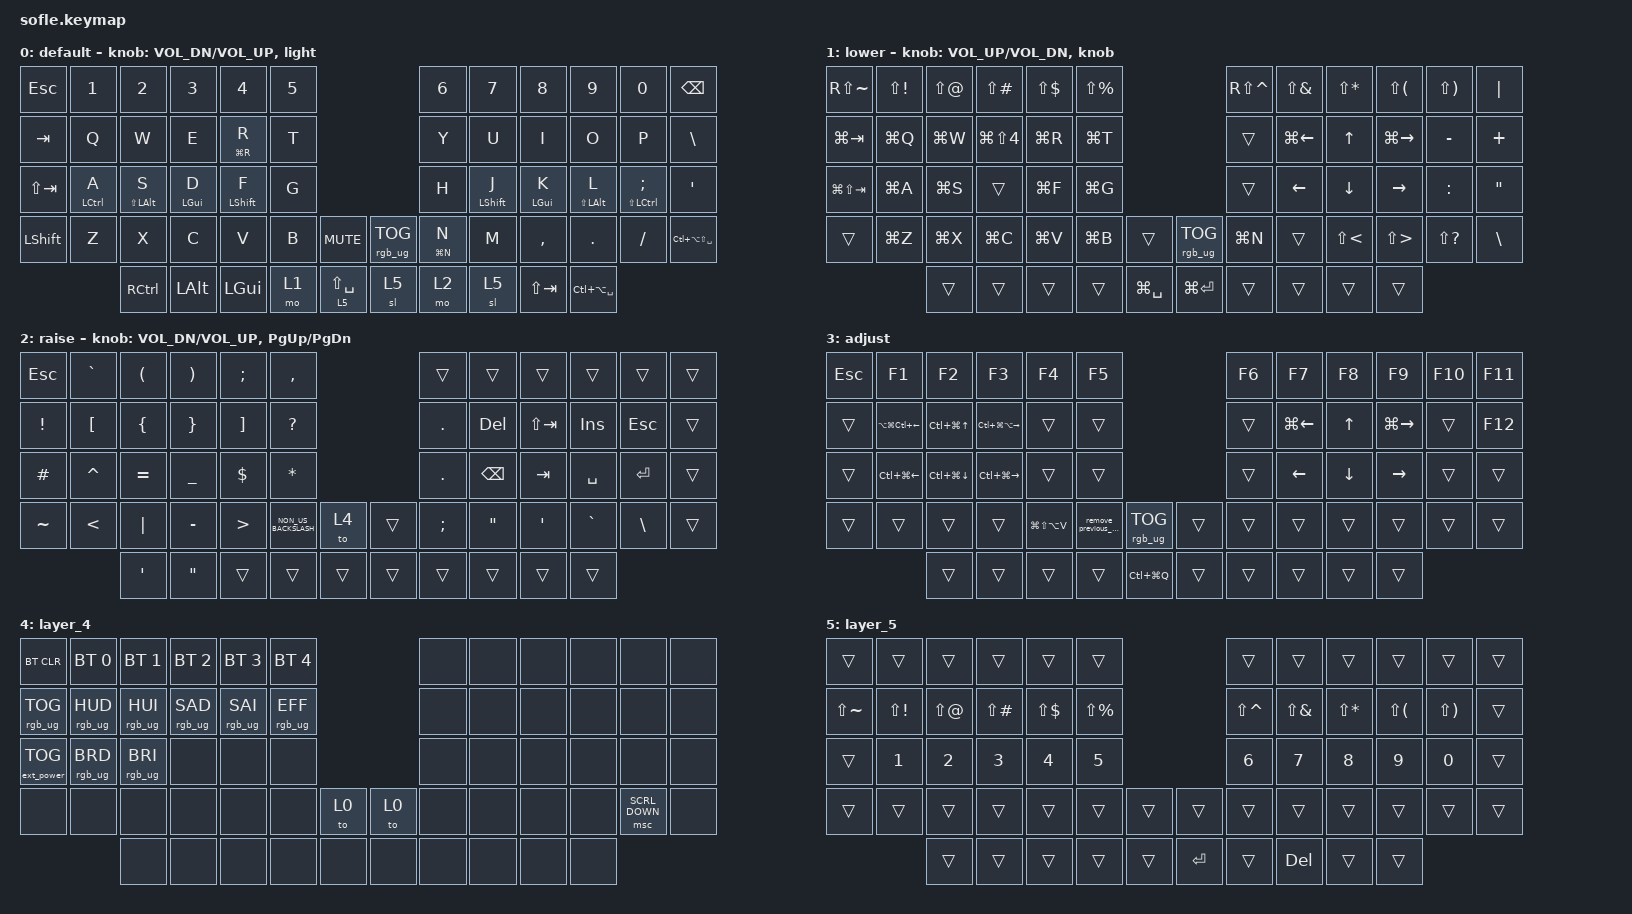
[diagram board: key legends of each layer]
/*
 * Copyright (c) 2020 The ZMK Contributors
 *
 * SPDX-License-Identifier: MIT
 */

#include <behaviors.dtsi>
#include <dt-bindings/zmk/bt.h>
#include <dt-bindings/zmk/ext_power.h>
#include <dt-bindings/zmk/keys.h>
#include <dt-bindings/zmk/pointing.h>
#include <dt-bindings/zmk/rgb.h>

#define BASE 0
#define LOWER 1
#define RAISE 2
#define ADJUST 3

/ {
    // Activate ADJUST layer by pressing raise and lower

    conditional_layers {
        compatible = "zmk,conditional-layers";

        adjust_layer {
            if-layers = <1 2>;
            then-layer = <3>;
        };
    };

    behaviors {
        longPress: longPress {
            compatible = "zmk,behavior-hold-tap";
            label = "LONGPRESS";
            bindings = <&kp>, <&kp>;

            #binding-cells = <2>;
            tapping-term-ms = <500>;
            flavor = "tap-preferred";
        };

        knob: knob {
            compatible = "zmk,behavior-sensor-rotate";
            label = "KNOB";
            #sensor-binding-cells = <0>;
            bindings = <&rgb_ug RGB_EFR>, <&rgb_ug RGB_EFF>;
        };

        light: light {
            compatible = "zmk,behavior-sensor-rotate";
            label = "LIGHT";
            #sensor-binding-cells = <0>;
            bindings = <&rgb_ug RGB_BRD>, <&rgb_ug RGB_BRI>;
        };

        HMShiftR: HMShiftR {
            compatible = "zmk,behavior-hold-tap";
            label = "HMSHIFTR";
            bindings = <&kp>, <&kp>;

            #binding-cells = <2>;
            tapping-term-ms = <450>;
            hold-while-undecided;
            hold-trigger-key-positions = <0 1 2 3 4 5 14 15 16 17 26 27 28 29 38 39 40 41 12 13 14 24 25 26 36 37 38 50 51 52 53 54 42>;
            hold-trigger-on-release;
        };

        HMShiftL: HMShiftL {
            compatible = "zmk,behavior-hold-tap";
            label = "HMSHIFTL";
            bindings = <&kp>, <&kp>;

            #binding-cells = <2>;
            tapping-term-ms = <450>;
            hold-while-undecided;
            hold-trigger-on-release;
            hold-trigger-key-positions = <6 7 8 9 10 11 18 19 20 21 22 23 30 31 32 33 34 35 44 45 46 47 48 49 57 58 59 55 56 43>;
        };

        HMR: HMR {
            compatible = "zmk,behavior-hold-tap";
            label = "HMR";
            bindings = <&kp>, <&kp>;

            #binding-cells = <2>;
            tapping-term-ms = <400>;
            hold-trigger-key-positions = <0 1 2 3 4 5 14 15 16 17 26 27 28 29 38 39 40 41 12 13 14 24 25 26 36 37 38 50 51 52 53 54 42>;
            flavor = "tap-preferred";
            quick-tap-ms = <350>;
        };

        HML: HML {
            compatible = "zmk,behavior-hold-tap";
            label = "HML";
            bindings = <&kp>, <&kp>;

            #binding-cells = <2>;
            tapping-term-ms = <400>;
            hold-trigger-key-positions = <6 7 8 9 10 11 18 19 20 21 22 23 30 31 32 33 34 35 44 45 46 47 48 49 57 58 59 55 56 43>;
            flavor = "tap-preferred";
            quick-tap-ms = <350>;
        };

        new_behavior: new_behavior {
            compatible = "zmk,behavior-hold-tap";
            label = "NEW_BEHAVIOR";
            bindings = <&mo>, <&kp>;

            #binding-cells = <2>;
            tapping-term-ms = <300>;
            quick-tap-ms = <250>;
            flavor = "balanced";
            hold-trigger-key-positions = <13 14 16 17 26 27 28 29 25 15 18 19 20 21 22 30 31 32 33 34>;
        };
    };

    macros {
        remove_previous_word: remove_previous_word {
            compatible = "zmk,behavior-macro";
            #binding-cells = <0>;
            bindings =
                <&macro_press>,
                <&kp LEFT_SHIFT &kp LEFT_ALT>,
                <&macro_tap>,
                <&kp LEFT>,
                <&macro_release>,
                <&kp LEFT_SHIFT &kp LALT>,
                <&macro_tap>,
                <&kp BACKSPACE>;

            label = "REMOVE_PREVIOUS_WORD";
        };
    };

    combos {
        compatible = "zmk,combos";

        Undo {
            bindings = <&kp LG(Z)>;
            key-positions = <38 37>;
        };

        Copy {
            bindings = <&kp LG(C)>;
            key-positions = <38 39>;
        };

        Paste {
            bindings = <&kp LG(V)>;
            key-positions = <39 40>;
        };
    };

    keymap {
        compatible = "zmk,keymap";

        Mac01 {
            label = "default";

            // ------------------------------------------------------------------------------------------------------------
            // |   `   |  1  |  2  |  3   |  4   |  5   |                   |  6   |  7    |  8    |  9   |   0   |       |
            // |  ESC  |  Q  |  W  |  E   |  R   |  T   |                   |  Y   |  U    |  I    |  O   |   P   | BKSPC |
            // |  TAB  |  A  |  S  |  D   |  F   |  G   |                   |  H   |  J    |  K    |  L   |   ;   |   '   |
            // | SHIFT |  Z  |  X  |  C   |  V   |  B   |  MUTE  |  |       |  N   |  M    |  ,    |  .   |   /   | SHIFT |
            //               | GUI | ALT  | CTRL | LOWER|  ENTER |  | SPACE | RAISE| CTRL  | ALT   | GUI  |

            bindings = <
&kp ESCAPE      &kp N1             &kp N2               &kp N3           &kp N4                  &kp N5                                      &kp N6              &kp N7                  &kp N8           &kp N9               &kp N0                    &kp BACKSPACE
&kp TAB         &kp Q              &kp W                &kp E            &longPress LG(R) R      &kp T                                       &kp Y               &kp U                   &kp I            &kp O                &kp P                     &kp BACKSLASH
&kp LS(TAB)     &HMShiftL LCTRL A  &HML LS(LEFT_ALT) S  &HML LEFT_GUI D  &HMShiftL LEFT_SHIFT F  &kp G                                       &kp H               &HMShiftR LEFT_SHIFT J  &HMR LEFT_GUI K  &HMR LS(LEFT_ALT) L  &HMR LS(LCTRL) SEMICOLON  &kp SQT
&kp LEFT_SHIFT  &kp Z              &kp X                &kp C            &kp V                   &kp B   &kp C_MUTE         &rgb_ug RGB_TOG  &longPress LG(N) N  &kp M                   &kp COMMA        &kp DOT              &kp FSLH                  &kp LC(LA(LS(SPACE)))
                                   &kp RCTRL            &kp LEFT_ALT     &kp LEFT_GUI            &mo 1   &lt 5 LS(SPACE)    &sl 5            &mo 2               &sl 5                   &kp LS(TAB)      &kp LC(LA(SPACE))
            >;

            sensor-bindings = <&inc_dec_kp C_VOL_DN C_VOL_UP>, <&light>;
        };

        mac_lower_layer {
            label = "lower";

            // TODO: Some binds are waiting for shifted keycode support.
            // ------------------------------------------------------------------------------------------------------------
            // |       |  F1 |  F2 |  F3  |  F4  |  F5  |                   |  F6  |  F7   |  F8   |  F9  |  F10  |  F11  |
            // |   `   |  1  |  2  |  3   |  4   |  5   |                   |  6   |  7    |  8    |  9   |   0   |  F12  |
            // |       |  !  |  @  |  #   |  $   |  %   |                   |  ^   |  &    |  *    |  (   |   )   |   |   |
            // |       |  =  |  -  |  +   |  {   |  }   |        |  |       |  [   |  ]    |  ;    |  :   |   \   |       |
            //               |     |      |      |      |        |  |       |      |       |       |      |

            bindings = <
&kp RS(TILDE)    &kp LS(EXCLAMATION)  &kp LS(AT_SIGN)  &kp LS(POUND)         &kp LS(DOLLAR)  &kp LS(PERCENT)                                    &kp RS(CARET)  &kp LS(AMPERSAND)   &kp LS(ASTERISK)   &kp LS(LEFT_PARENTHESIS)  &kp LS(RIGHT_PARENTHESIS)  &kp PIPE
&kp LG(TAB)      &kp LG(Q)            &kp LG(W)        &kp LG(LS(NUMBER_4))  &kp LG(R)       &kp LG(T)                                          &trans         &kp LG(LEFT_ARROW)  &kp UP_ARROW       &kp LG(RIGHT)             &kp MINUS                  &kp PLUS
&kp LG(LS(TAB))  &kp LG(A)            &kp LG(S)        &trans                &kp LG(F)       &kp LG(G)                                          &trans         &kp LEFT            &kp DOWN_ARROW     &kp RIGHT                 &kp COLON                  &kp DOUBLE_QUOTES
&trans           &kp LG(Z)            &kp LG(X)        &kp LG(C)             &kp LG(V)       &kp LG(B)        &trans           &rgb_ug RGB_TOG  &kp LG(N)      &trans              &kp LS(LESS_THAN)  &kp LS(GREATER_THAN)      &kp LS(QUESTION)           &kp BACKSLASH
                                      &trans           &trans                &trans          &trans           &kp LG(SPACE)    &kp LG(ENTER)    &trans         &trans              &trans             &trans
            >;

            sensor-bindings = <&inc_dec_kp C_VOL_UP C_VOL_DN>, <&knob>;
        };

        raise_layer {
            label = "raise";

            // ------------------------------------------------------------------------------------------------------------
            // | BTCLR | BT1  | BT2  |  BT3  |  BT4  |  BT5 |                |      |      |       |      |       |       |
            // |       | INS  | PSCR | GUI   |       |      |                | PGUP |      |   ^   |      |       |       |
            // |       | ALT  | CTRL | SHIFT |       | CAPS |                | PGDN |   <- |   v   |  ->  |  DEL  | BKSPC |
            // |       | UNDO | CUT  | COPY  | PASTE |      |      |  |      |      |      |       |      |       |       |
            //                |      |       |       |      |      |  |      |      |      |       |      |

            bindings = <
&kp ESC          &kp GRAVE         &kp LEFT_PARENTHESIS  &kp RIGHT_PARENTHESIS  &kp SEMICOLON      &kp COMMA                               &trans         &trans             &trans       &trans      &trans         &trans
&kp EXCLAMATION  &kp LEFT_BRACKET  &kp LEFT_BRACE        &kp RIGHT_BRACE        &kp RIGHT_BRACKET  &kp QUESTION                            &kp PERIOD     &kp DEL            &kp LS(TAB)  &kp INSERT  &kp ESCAPE     &trans
&kp HASH         &kp CARET         &kp EQUAL             &kp UNDERSCORE         &kp DOLLAR         &kp ASTERISK                            &kp PERIOD     &kp BACKSPACE      &kp TAB      &kp SPACE   &kp ENTER      &trans
&kp TILDE        &kp LESS_THAN     &kp PIPE              &kp MINUS              &kp GREATER_THAN   &kp NON_US_BACKSLASH  &to 4     &trans  &kp SEMICOLON  &kp DOUBLE_QUOTES  &kp SQT      &kp GRAVE   &kp BACKSLASH  &trans
                                   &kp SQT               &kp DOUBLE_QUOTES      &trans             &trans                &trans    &trans  &trans         &trans             &trans       &trans
            >;

            sensor-bindings =
                <&inc_dec_kp C_VOL_DN C_VOL_UP>,
                <&inc_dec_kp PG_UP PG_DN>;
        };

        adjust_layer {
            // ----------------------------------------------------------------------------------------------------------------------------
            // | BTCLR  |  BT1    |  BT2    |   BT3   |   BT4   |   BT5   |                  |      |      |       |      |       |       |
            // | EXTPWR | RGB_HUD | RGB_HUI | RGB_SAD | RGB_SAI | RGB_EFF |                  |      |      |       |      |       |       |
            // |        | RGB_BRD | RGB_BRI |         |         |         |                  |      |      |       |      |       |       |
            // |        |         |         |         |         |         | RGB_TOG | |      |      |      |       |      |       |       |
            //                    |         |         |         |         |         | |      |      |      |       |      |

            label = "adjust";
            bindings = <
&kp ESCAPE  &kp F1                &kp F2                  &kp F3                 &kp F4             &kp F5                                            &kp F6  &kp F7          &kp F8          &kp F9         &kp F10  &kp F11
&trans      &kp LA(LG(LC(LEFT)))  &kp LC(LG(UP_ARROW))    &kp LC(LG(LA(RIGHT)))  &trans             &trans                                            &trans  &kp LG(LEFT)    &kp UP_ARROW    &kp LG(RIGHT)  &trans   &kp F12
&trans      &kp LC(LG(LEFT))      &kp LC(LG(DOWN_ARROW))  &kp LC(LG(RIGHT))      &trans             &trans                                            &trans  &kp LEFT_ARROW  &kp DOWN_ARROW  &kp RIGHT      &trans   &trans
&trans      &trans                &trans                  &trans                 &kp LG(LS(LA(V)))  &remove_previous_word  &rgb_ug RGB_TOG    &trans  &trans  &trans          &trans          &trans         &trans   &trans
                                  &trans                  &trans                 &trans             &trans                 &kp LC(LG(Q))      &trans  &trans  &trans          &trans          &trans
            >;
        };

        layer_4 {
            bindings = <
&bt BT_CLR         &bt BT_SEL 0     &bt BT_SEL 1     &bt BT_SEL 2     &bt BT_SEL 3     &bt BT_SEL 4                     &none  &none  &none  &none  &none           &none
&rgb_ug RGB_TOG    &rgb_ug RGB_HUD  &rgb_ug RGB_HUI  &rgb_ug RGB_SAD  &rgb_ug RGB_SAI  &rgb_ug RGB_EFF                  &none  &none  &none  &none  &none           &none
&ext_power EP_TOG  &rgb_ug RGB_BRD  &rgb_ug RGB_BRI  &none            &none            &none                            &none  &none  &none  &none  &none           &none
&none              &none            &none            &none            &none            &none            &to 0    &to 0  &none  &none  &none  &none  &msc SCRL_DOWN  &none
                                    &none            &none            &none            &none            &none    &none  &none  &none  &none  &none
            >;
        };

        layer_5 {
            bindings = <
&trans         &trans        &trans      &trans         &trans        &trans                              &trans         &trans        &trans        &trans        &trans        &trans
&kp LS(TILDE)  &kp LS(EXCL)  &kp LS(AT)  &kp LS(POUND)  &kp LS(DLLR)  &kp LS(PRCNT)                       &kp LS(CARET)  &kp LS(AMPS)  &kp LS(STAR)  &kp LS(LPAR)  &kp LS(RPAR)  &trans
&trans         &kp N1        &kp N2      &kp N3         &kp N4        &kp N5                              &kp N6         &kp N7        &kp N8        &kp N9        &kp N0        &trans
&trans         &trans        &trans      &trans         &trans        &trans         &trans    &trans     &trans         &trans        &trans        &trans        &trans        &trans
                             &trans      &trans         &trans        &trans         &trans    &kp ENTER  &trans         &kp DELETE    &trans        &trans
            >;
        };
    };
};
